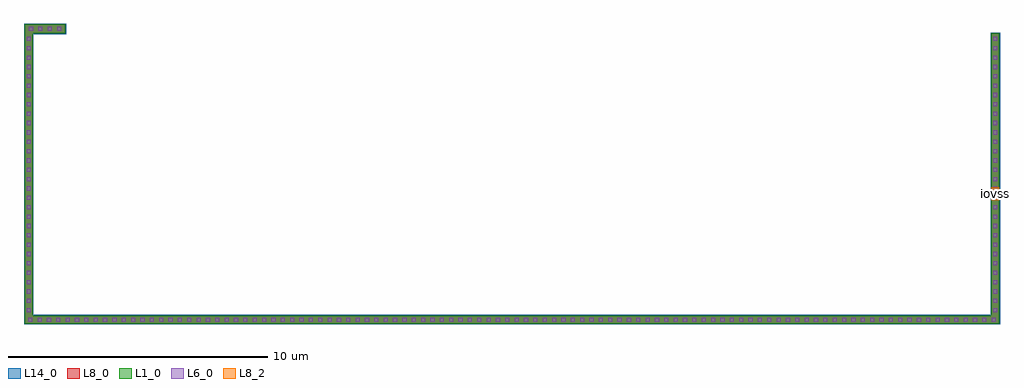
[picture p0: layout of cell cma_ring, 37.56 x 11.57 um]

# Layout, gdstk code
import gdstk
lib = gdstk.Library(unit=1e-6, precision=1e-09)
def R(c, l, rs):  # rectangles x0, y0, x1, y1
    for r in rs: c.add(gdstk.rectangle(r[:2], r[2:], *l))
def A(c, l, x, y, w, h, nx, ny, dx, dy):  # array of equal rectangles
    R(c, l, [(x+i*dx, y+j*dy, x+i*dx+w, y+j*dy+h) for i in range(nx) for j in range(ny)])
L1_0 = (1, 0)
L6_0 = (6, 0)
L8_0 = (8, 0)
L8_2 = (8, 2)
L14_0 = (14, 0)

cma_ring = lib.new_cell('cma_ring')
R(cma_ring, L1_0, [(1.39,40.25,38.89,40.55), (1.39,40.55,1.69,51.42), (38.59,40.55,38.89,51.42), (1.39,51.42,2.95,51.76)])
A(cma_ring, L6_0, 1.52, 40.32, 0.16, 0.16, 104, 1, 0.36, 0)
A(cma_ring, L6_0, 1.46, 40.685, 0.16, 0.16, 1, 30, 0, 0.36)
A(cma_ring, L6_0, 38.66, 40.685, 0.16, 0.16, 1, 30, 0, 0.36)
A(cma_ring, L6_0, 1.55, 51.51, 0.16, 0.16, 4, 1, 0.36, 0)
R(cma_ring, L8_0, [(1.39,40.25,38.89,40.55), (1.39,40.55,1.69,51.42), (38.59,40.55,38.89,51.42), (1.39,51.42,2.95,51.76)])
R(cma_ring, L8_2, [(38.59,45,38.89,45.5)])
R(cma_ring, L14_0, [(1.36,40.22,38.92,40.58), (1.36,40.52,1.72,51.45), (38.56,40.52,38.92,51.45), (1.36,51.39,2.98,51.79)])
cma_ring.add(gdstk.Label('iovss', (38.74,45.25), layer=8, texttype=25))

lib.write_gds('cma_ring.gds')
